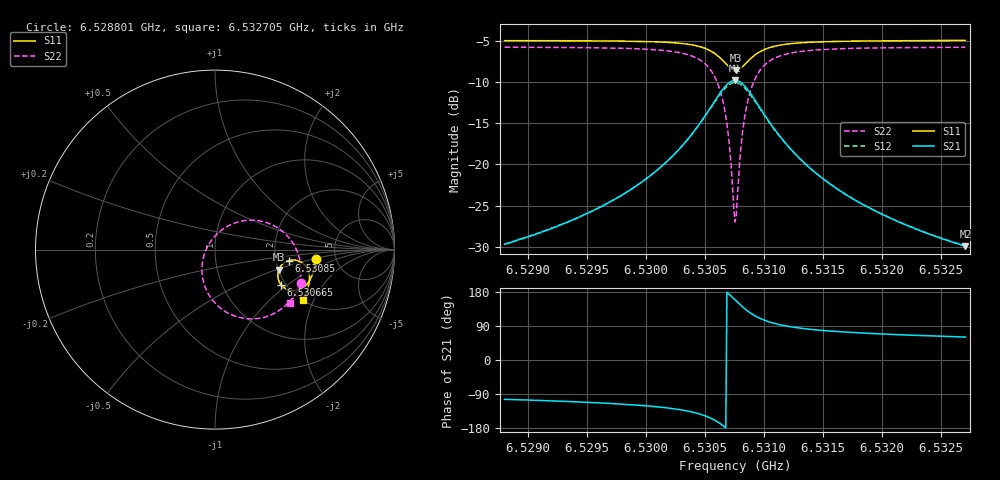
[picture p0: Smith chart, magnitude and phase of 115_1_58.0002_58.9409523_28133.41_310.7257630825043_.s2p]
#  HZ  S  RI  R  50.00
! Rohde & Schwarz Vector Network Analyzer
! Rohde-Schwarz,ZNB20-2Port,1311601062101988,3.16
! Created: UTC 3/21/2024, 12:55:22 AM
! freq[Hz]  re:S11  im:S11  re:S21  im:S21  re:S12  im:S12  re:S22  im:S22
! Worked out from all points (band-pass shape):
!   401 points, 6.528801 GHz to 6.532705 GHz, reference 50 ohm
!   highest |S21| = -9.81 dB at 6.530753 GHz (marker M1); lowest = -29.9 dB at 6.532705 GHz (marker M2)
!   |S21| within 3 dB of the highest: 6.530558 GHz to 6.530949 GHz (390.9 kHz wide, 0.00599 % of centre)
!   lowest |S11| = -8.6 dB at 6.530763 GHz (marker M3), VSWR 2.19, Z = 101 - j26.3 ohm
!   |S11| at or under -10 dB: nowhere
!   |S22| runs from -27.0 to -5.8 dB; largest |S21 - S12| = 0.013
!   S11 on the Smith chart (normalised r, x): 6.528801 GHz: 3.48, -0.55; 6.530665 GHz: 1.89, -0.89; 6.53085 GHz: 2.35, -0.35; 6.532705 GHz: 1.99, -1.66
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6.5288009e9  0.5606 -0.0542  -0.00783 -0.0319  -0.00846 -0.0318  0.4803 -0.1834
6.5294548e9  0.5512 -0.1099  -0.0175 -0.0455  -0.0186 -0.045  0.4483 -0.2457
6.5298061e9  0.541 -0.1436  -0.0294 -0.0588  -0.0311 -0.0582  0.4161 -0.2881
6.5301086e9  0.524 -0.1779  -0.0527 -0.0782  -0.055 -0.0767  0.3632 -0.3353
6.5303331e9  0.4967 -0.2084  -0.0944 -0.099  -0.0972 -0.0956  0.2789 -0.3755
6.530499e9  0.4515 -0.2283  -0.1661 -0.1066  -0.1685 -0.0993  0.147 -0.3804
6.5305966e9  0.4044 -0.2233  -0.2392 -0.0793  -0.2384 -0.0689  0.0241 -0.3205
6.5306649e9  0.3671 -0.1948  -0.2939 -0.0184  -0.2875 -0.00733  -0.0555 -0.2072
6.5306942e9  0.3556 -0.1736  -0.3085 0.0222  -0.2995 0.0317  -0.0716 -0.1372
6.5307332e9  0.35 -0.1391  -0.3102 0.0848  -0.2986 0.091  -0.0619 -0.0338
6.5307527e9  0.353 -0.121  -0.3016 0.1164  -0.2895 0.1204  -0.0417 0.0163
6.5307625e9  0.3557 -0.1124  -0.2951 0.1316  -0.283 0.1345  -0.0281 0.0395
6.5307723e9  0.3595 -0.1041  -0.2871 0.146  -0.2751 0.1478  -0.0121 0.0613
6.5308113e9  0.3817 -0.0769  -0.244 0.1922  -0.2337 0.1903  0.0672 0.1285
6.5308503e9  0.4098 -0.0619  -0.1926 0.2171  -0.1852 0.2135  0.1561 0.16
6.5309187e9  0.4553 -0.0602  -0.1132 0.22  -0.1095 0.2165  0.2895 0.1496
6.5310163e9  0.4958 -0.0819  -0.0446 0.1881  -0.0428 0.1861  0.4004 0.0792
6.5311626e9  0.5198 -0.1185  -0.00283 0.1392  -0.00156 0.1385  0.4616 -0.0199
6.5314066e9  0.5269 -0.1624  0.0153 0.0912  0.0164 0.0909  0.4777 -0.1209
6.5316896e9  0.5224 -0.1979  0.0184 0.0631  0.0195 0.0628  0.4688 -0.1865
6.5320605e9  0.5116 -0.2335  0.018 0.044  0.0187 0.0438  0.4505 -0.2395
6.5327046e9  0.4886 -0.2836  0.0158 0.0277  0.0162 0.0275  0.4172 -0.2996
